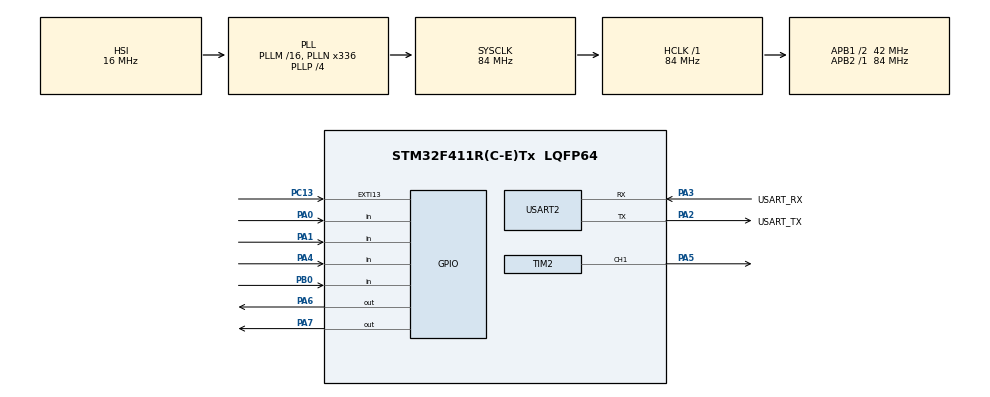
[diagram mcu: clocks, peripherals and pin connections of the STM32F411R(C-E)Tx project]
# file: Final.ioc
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Mcu.Family=STM32F4
Mcu.Name=STM32F411R(C-E)Tx
Mcu.Package=LQFP64
NVIC.EXTI15_10_IRQn=true\:0\:0\:false\:false\:true\:true\:true\:true
NVIC.PriorityGroup=NVIC_PRIORITYGROUP_0
NVIC.TIM2_IRQn=true\:0\:0\:false\:false\:true\:true\:true\:true
NVIC.TIM3_IRQn=true\:0\:0\:false\:false\:true\:true\:true\:true
NVIC.USART2_IRQn=true\:0\:0\:false\:false\:true\:true\:true\:true
PA0-WKUP.GPIO_PuPd=GPIO_PULLUP
PA0-WKUP.Signal=GPIO_Input
PA1.GPIO_PuPd=GPIO_PULLUP
PA1.Signal=GPIO_Input
PA13.GPIO_Label=TMS
PA13.Mode=Serial_Wire
PA13.Signal=SYS_JTMS-SWDIO
PA14.GPIO_Label=TCK
PA14.Mode=Serial_Wire
PA14.Signal=SYS_JTCK-SWCLK
PA2.GPIO_Label=USART_TX
PA2.Mode=Asynchronous
PA2.Signal=USART2_TX
PA3.GPIO_Label=USART_RX
PA3.Mode=Asynchronous
PA3.Signal=USART2_RX
PA4.GPIO_PuPd=GPIO_PULLUP
PA4.Signal=GPIO_Input
PA5.Signal=S_TIM2_CH1_ETR
PA6.PinState=GPIO_PIN_RESET
PA6.Signal=GPIO_Output
PA7.PinState=GPIO_PIN_RESET
PA7.Signal=GPIO_Output
PB0.GPIO_PuPd=GPIO_PULLUP
PB0.Signal=GPIO_Input
PB3.GPIO_Label=SWO
PB3.Signal=SYS_JTDO-SWO
PC13-ANTI_TAMP.GPIO_PuPd=GPIO_PULLUP
PC13-ANTI_TAMP.Signal=GPXTI13
PC14-OSC32_IN.Mode=LSE-External-Oscillator
PC14-OSC32_IN.Signal=RCC_OSC32_IN
PC15-OSC32_OUT.Mode=LSE-External-Oscillator
PC15-OSC32_OUT.Signal=RCC_OSC32_OUT
PH0\ -\ OSC_IN.Mode=HSE-External-Clock-Source
PH0\ -\ OSC_IN.Signal=RCC_OSC_IN
PH1\ -\ OSC_OUT.Mode=HSE-External-Clock-Source
PH1\ -\ OSC_OUT.Signal=RCC_OSC_OUT
ProjectManager.HeapSize=0x200
ProjectManager.StackSize=0x400
ProjectManager.TargetToolchain=STM32CubeIDE
RCC.48MHZClocksFreq_Value=84000000
RCC.AHBFreq_Value=84000000
RCC.APB1CLKDivider=RCC_HCLK_DIV2
RCC.APB1Freq_Value=42000000
RCC.APB1TimFreq_Value=84000000
RCC.APB2Freq_Value=84000000
RCC.APB2TimFreq_Value=84000000
RCC.CortexFreq_Value=84000000
RCC.FLatency-AdvancedSettings=FLASH_LATENCY_2
RCC.HCLKFreq_Value=84000000
RCC.HSE_VALUE=8000000
RCC.HSI_VALUE=16000000
RCC.PLLN=336
RCC.PLLP=RCC_PLLP_DIV4
RCC.SYSCLKFreq_VALUE=84000000
RCC.SYSCLKSource=RCC_SYSCLKSOURCE_PLLCLK
RCC.VCOOutputFreq_Value=336000000
SH.S_TIM2_CH1_ETR.0=TIM2_CH1,PWM Generation1 CH1
TIM2.Channel-PWM\ Generation1\ CH1=TIM_CHANNEL_1
TIM2.Period=999
TIM2.Prescaler=83
TIM3.Period=999
TIM3.Prescaler=83
USART2.VirtualMode=VM_ASYNC
VP_TIM2_VS_ClockSourceINT.Mode=Internal
VP_TIM3_VS_ClockSourceINT.Mode=Internal
board=NUCLEO-F411RE

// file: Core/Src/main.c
/* USER CODE BEGIN Header */
/**
  ******************************************************************************
  * @file           : main.c
  * @brief          : Main program body
  ******************************************************************************
  */
/* USER CODE END Header */

#include "main.h"

/* USER CODE BEGIN Includes */
#include "app.h"
#include <string.h>
/* USER CODE END Includes */

TIM_HandleTypeDef htim2;
TIM_HandleTypeDef htim3;

UART_HandleTypeDef huart2;

/* USER CODE BEGIN PV */
static uint8_t  rx_ch;
static char     rx_line[128];
static uint32_t rx_idx = 0;
/* USER CODE END PV */

void SystemClock_Config(void);
static void MX_GPIO_Init(void);
static void MX_USART2_UART_Init(void);
static void MX_TIM2_Init(void);
static void MX_TIM3_Init(void);

/* USER CODE BEGIN PFP */
static void uart_tx(const char *s);
/* USER CODE END PFP */

int main(void)
{
  HAL_Init();
  SystemClock_Config();

  MX_GPIO_Init();
  MX_USART2_UART_Init();
  MX_TIM2_Init();
  MX_TIM3_Init();

  /* USER CODE BEGIN 2 */
  app_init();

  /* ---- BONUS 2: start TIM2 PWM WITH interrupts ----
     - TIM2 Update IRQ -> app_pwm_period_start()
     - TIM2 CC1 IRQ    -> app_pwm_pulse_end()
  */
  HAL_TIM_Base_Start_IT(&htim2);
  HAL_TIM_PWM_Start_IT(&htim2, TIM_CHANNEL_1);

  /* Start 1 kHz tick (TIM3 Update IRQ) */
  HAL_TIM_Base_Start_IT(&htim3);

  /* Start UART RX interrupt (1 byte at a time) */
  HAL_UART_Receive_IT(&huart2, &rx_ch, 1);

  HAL_UART_Transmit(&huart2, (uint8_t*)"Boot\r\n", 6, 200);
  /* USER CODE END 2 */

  while (1)
  {
    __WFI(); /* wait for interrupt */
  }
}

void SystemClock_Config(void)
{
  RCC_OscInitTypeDef RCC_OscInitStruct = {0};
  RCC_ClkInitTypeDef RCC_ClkInitStruct = {0};

  __HAL_RCC_PWR_CLK_ENABLE();
  __HAL_PWR_VOLTAGESCALING_CONFIG(PWR_REGULATOR_VOLTAGE_SCALE1);

  RCC_OscInitStruct.OscillatorType = RCC_OSCILLATORTYPE_HSI;
  RCC_OscInitStruct.HSIState = RCC_HSI_ON;
  RCC_OscInitStruct.HSICalibrationValue = RCC_HSICALIBRATION_DEFAULT;
  RCC_OscInitStruct.PLL.PLLState = RCC_PLL_ON;
  RCC_OscInitStruct.PLL.PLLSource = RCC_PLLSOURCE_HSI;
  RCC_OscInitStruct.PLL.PLLM = 16;
  RCC_OscInitStruct.PLL.PLLN = 336;
  RCC_OscInitStruct.PLL.PLLP = RCC_PLLP_DIV4;
  RCC_OscInitStruct.PLL.PLLQ = 4;
  if (HAL_RCC_OscConfig(&RCC_OscInitStruct) != HAL_OK)
  {
    Error_Handler();
  }

  RCC_ClkInitStruct.ClockType = RCC_CLOCKTYPE_HCLK|RCC_CLOCKTYPE_SYSCLK
                              |RCC_CLOCKTYPE_PCLK1|RCC_CLOCKTYPE_PCLK2;
  RCC_ClkInitStruct.SYSCLKSource = RCC_SYSCLKSOURCE_PLLCLK;
  RCC_ClkInitStruct.AHBCLKDivider = RCC_SYSCLK_DIV1;
  RCC_ClkInitStruct.APB1CLKDivider = RCC_HCLK_DIV2;
  RCC_ClkInitStruct.APB2CLKDivider = RCC_HCLK_DIV1;

  if (HAL_RCC_ClockConfig(&RCC_ClkInitStruct, FLASH_LATENCY_2) != HAL_OK)
  {
    Error_Handler();
  }
}

static void MX_TIM2_Init(void)
{
  TIM_ClockConfigTypeDef sClockSourceConfig = {0};
  TIM_MasterConfigTypeDef sMasterConfig = {0};
  TIM_OC_InitTypeDef sConfigOC = {0};

  htim2.Instance = TIM2;
  htim2.Init.Prescaler = 83;
  htim2.Init.CounterMode = TIM_COUNTERMODE_UP;
  htim2.Init.Period = 999;
  htim2.Init.ClockDivision = TIM_CLOCKDIVISION_DIV1;
  htim2.Init.AutoReloadPreload = TIM_AUTORELOAD_PRELOAD_DISABLE;

  if (HAL_TIM_Base_Init(&htim2) != HAL_OK) { Error_Handler(); }

  sClockSourceConfig.ClockSource = TIM_CLOCKSOURCE_INTERNAL;
  if (HAL_TIM_ConfigClockSource(&htim2, &sClockSourceConfig) != HAL_OK) { Error_Handler(); }

  if (HAL_TIM_PWM_Init(&htim2) != HAL_OK) { Error_Handler(); }

  sMasterConfig.MasterOutputTrigger = TIM_TRGO_RESET;
  sMasterConfig.MasterSlaveMode = TIM_MASTERSLAVEMODE_DISABLE;
  if (HAL_TIMEx_MasterConfigSynchronization(&htim2, &sMasterConfig) != HAL_OK) { Error_Handler(); }

  sConfigOC.OCMode = TIM_OCMODE_PWM1;
  sConfigOC.Pulse = 0;
  sConfigOC.OCPolarity = TIM_OCPOLARITY_HIGH;
  sConfigOC.OCFastMode = TIM_OCFAST_DISABLE;
  if (HAL_TIM_PWM_ConfigChannel(&htim2, &sConfigOC, TIM_CHANNEL_1) != HAL_OK) { Error_Handler(); }

  HAL_TIM_MspPostInit(&htim2);

  /* USER CODE BEGIN TIM2_Init 2 */
  /* ---- BONUS 2: enable TIM2 IRQ in NVIC ---- */
  HAL_NVIC_SetPriority(TIM2_IRQn, 1, 0);
  HAL_NVIC_EnableIRQ(TIM2_IRQn);
  /* USER CODE END TIM2_Init 2 */
}

static void MX_TIM3_Init(void)
{
  TIM_ClockConfigTypeDef sClockSourceConfig = {0};
  TIM_MasterConfigTypeDef sMasterConfig = {0};

  htim3.Instance = TIM3;
  htim3.Init.Prescaler = 83;
  htim3.Init.CounterMode = TIM_COUNTERMODE_UP;
  htim3.Init.Period = 999;
  htim3.Init.ClockDivision = TIM_CLOCKDIVISION_DIV1;
  htim3.Init.AutoReloadPreload = TIM_AUTORELOAD_PRELOAD_DISABLE;

  if (HAL_TIM_Base_Init(&htim3) != HAL_OK) { Error_Handler(); }

  sClockSourceConfig.ClockSource = TIM_CLOCKSOURCE_INTERNAL;
  if (HAL_TIM_ConfigClockSource(&htim3, &sClockSourceConfig) != HAL_OK) { Error_Handler(); }

  sMasterConfig.MasterOutputTrigger = TIM_TRGO_RESET;
  sMasterConfig.MasterSlaveMode = TIM_MASTERSLAVEMODE_DISABLE;
  if (HAL_TIMEx_MasterConfigSynchronization(&htim3, &sMasterConfig) != HAL_OK) { Error_Handler(); }
}

static void MX_USART2_UART_Init(void)
{
  huart2.Instance = USART2;
  huart2.Init.BaudRate = 115200;
  huart2.Init.WordLength = UART_WORDLENGTH_8B;
  huart2.Init.StopBits = UART_STOPBITS_1;
  huart2.Init.Parity = UART_PARITY_NONE;
  huart2.Init.Mode = UART_MODE_TX_RX;
  huart2.Init.HwFlowCtl = UART_HWCONTROL_NONE;
  huart2.Init.OverSampling = UART_OVERSAMPLING_16;

  if (HAL_UART_Init(&huart2) != HAL_OK)
  {
    Error_Handler();
  }
}

static void MX_GPIO_Init(void)
{
  GPIO_InitTypeDef GPIO_InitStruct = {0};

  __HAL_RCC_GPIOC_CLK_ENABLE();
  __HAL_RCC_GPIOH_CLK_ENABLE();
  __HAL_RCC_GPIOA_CLK_ENABLE();
  __HAL_RCC_GPIOB_CLK_ENABLE();

  HAL_GPIO_WritePin(GPIOA, GPIO_PIN_6|GPIO_PIN_7, GPIO_PIN_RESET);

  /* PC13 button -> EXTI */
  GPIO_InitStruct.Pin = GPIO_PIN_13;
  GPIO_InitStruct.Mode = GPIO_MODE_IT_RISING;
  GPIO_InitStruct.Pull = GPIO_PULLUP;
  HAL_GPIO_Init(GPIOC, &GPIO_InitStruct);

  /* PA0, PA1, PA4 inputs */
  GPIO_InitStruct.Pin = GPIO_PIN_0|GPIO_PIN_1|GPIO_PIN_4;
  GPIO_InitStruct.Mode = GPIO_MODE_INPUT;
  GPIO_InitStruct.Pull = GPIO_PULLUP;
  HAL_GPIO_Init(GPIOA, &GPIO_InitStruct);

  /* PA6, PA7 outputs */
  GPIO_InitStruct.Pin = GPIO_PIN_6|GPIO_PIN_7;
  GPIO_InitStruct.Mode = GPIO_MODE_OUTPUT_PP;
  GPIO_InitStruct.Pull = GPIO_NOPULL;
  GPIO_InitStruct.Speed = GPIO_SPEED_FREQ_LOW;
  HAL_GPIO_Init(GPIOA, &GPIO_InitStruct);

  /* PB0 input */
  GPIO_InitStruct.Pin = GPIO_PIN_0;
  GPIO_InitStruct.Mode = GPIO_MODE_INPUT;
  GPIO_InitStruct.Pull = GPIO_PULLUP;
  HAL_GPIO_Init(GPIOB, &GPIO_InitStruct);

  /* EXTI interrupt init*/
  HAL_NVIC_SetPriority(EXTI15_10_IRQn, 0, 0);
  HAL_NVIC_EnableIRQ(EXTI15_10_IRQn);
}

/* USER CODE BEGIN 4 */

static void uart_tx(const char *s)
{
  HAL_UART_Transmit(&huart2, (uint8_t*)s, (uint16_t)strlen(s), 200);
}

/* TIM callbacks:
   - TIM3 -> 1kHz app_tick
   - TIM2 -> Bonus2 model stepping from PWM timer events
*/
void HAL_TIM_PeriodElapsedCallback(TIM_HandleTypeDef *htim)
{
  if (htim->Instance == TIM3)
  {
    app_tick_1khz();
  }
  else if (htim->Instance == TIM2)
  {
    app_pwm_period_start(); /* start of PWM period */
  }
}

/* Called when PWM pulse finished (compare event) */
void HAL_TIM_PWM_PulseFinishedCallback(TIM_HandleTypeDef *htim)
{
  if (htim->Instance == TIM2)
  {
    app_pwm_pulse_end(); /* end of ON-time -> go to 0 state */
  }
}

void HAL_GPIO_EXTI_Callback(uint16_t GPIO_Pin)
{
  if (GPIO_Pin == GPIO_PIN_13) app_button_event();
}

void HAL_UART_RxCpltCallback(UART_HandleTypeDef *huart)
{
  if (huart->Instance != USART2) return;

  char c = (char)rx_ch;

  if (c == '\r' || c == '\n')
  {
    uart_tx("\r\n");
    rx_line[rx_idx] = '\0';
    if (rx_idx > 0) app_cli_process_line(rx_line);
    rx_idx = 0;
  }
  else if (c == 0x08 || c == 0x7F)
  {
    if (rx_idx > 0) { rx_idx--; uart_tx("\b \b"); }
  }
  else
  {
    if (rx_idx < (sizeof(rx_line) - 1))
    {
      rx_line[rx_idx++] = c;
      HAL_UART_Transmit(&huart2, &rx_ch, 1, 10);
    }
  }

  HAL_UART_Receive_IT(&huart2, &rx_ch, 1);
}

/* USER CODE END 4 */

void Error_Handler(void)
{
  __disable_irq();
  while (1) { }
}
